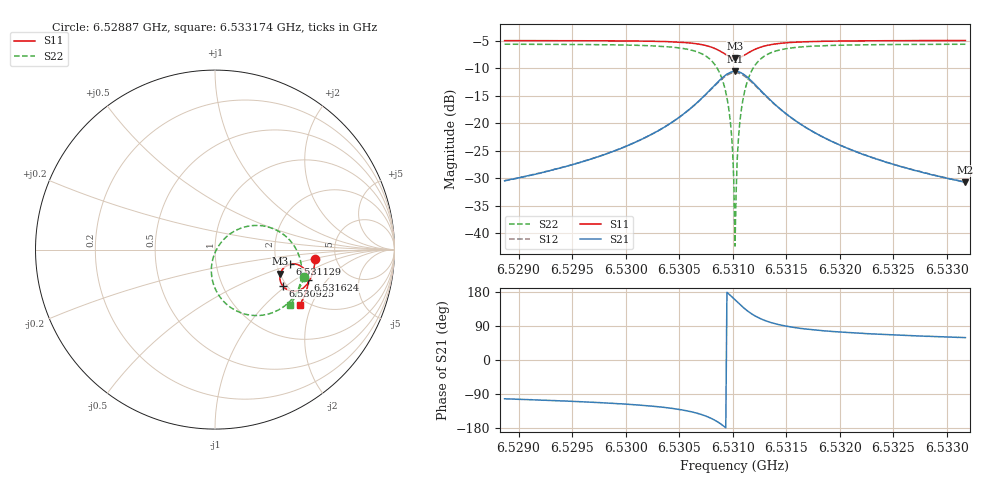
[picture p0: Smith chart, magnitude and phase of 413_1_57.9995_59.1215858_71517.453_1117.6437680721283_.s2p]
#  HZ  S  RI  R  50.00
! Rohde & Schwarz Vector Network Analyzer
! Rohde-Schwarz,ZNB20-2Port,1311601062101988,3.16
! Created: UTC 3/21/2024, 1:08:49 AM
! freq[Hz]  re:S11  im:S11  re:S21  im:S21  re:S12  im:S12  re:S22  im:S22
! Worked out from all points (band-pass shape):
!   401 points, 6.52887 GHz to 6.533174 GHz, reference 50 ohm
!   highest |S21| = -10.59 dB at 6.531022 GHz (marker M1); lowest = -30.7 dB at 6.533174 GHz (marker M2)
!   |S21| within 3 dB of the highest: 6.530808 GHz to 6.531238 GHz (430.1 kHz wide, 0.00659 % of centre)
!   lowest |S11| = -8.2 dB at 6.531022 GHz (marker M3), VSWR 2.27, Z = 101 - j31.8 ohm
!   |S11| at or under -10 dB: nowhere
!   |S22| runs from -42.3 to -5.7 dB; largest |S21 - S12| = 0.011
!   S11 on the Smith chart (normalised r, x): 6.52887 GHz: 3.47, -0.52; 6.530925 GHz: 1.91, -0.93; 6.531129 GHz: 2.36, -0.48; 6.531624 GHz: 2.71, -1.29; 6.533174 GHz: 1.82, -1.65
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6.52887e9  0.5587 -0.0518  -0.00642 -0.0292  -0.00701 -0.0292  0.4969 -0.1546
6.5295909e9  0.5492 -0.1112  -0.0155 -0.0416  -0.0163 -0.0415  0.4677 -0.2207
6.5303118e9  0.5216 -0.1812  -0.0476 -0.0718  -0.0496 -0.0705  0.3895 -0.3129
6.5307421e9  0.4532 -0.2312  -0.1512 -0.0974  -0.1535 -0.0915  0.1899 -0.364
6.5308497e9  0.4098 -0.2266  -0.2182 -0.0727  -0.2179 -0.0639  0.0749 -0.3132
6.530925e9  0.3762 -0.2007  -0.2681 -0.0169  -0.2632 -0.00755  -0.00181 -0.2113
6.5309681e9  0.3636 -0.1742  -0.284 0.0339  -0.2761 0.0416  -0.0204 -0.124
6.5309896e9  0.3613 -0.1585  -0.285 0.063  -0.2759 0.0692  -0.0174 -0.0761
6.5310004e9  0.3614 -0.1504  -0.2834 0.0777  -0.2738 0.0831  -0.0121 -0.0521
6.5310111e9  0.3623 -0.1423  -0.2802 0.0922  -0.2702 0.0968  -0.0046 -0.0285
6.5310219e9  0.3643 -0.1342  -0.2755 0.1067  -0.2655 0.1103  0.0053 -0.0055
6.5310326e9  0.367 -0.1265  -0.2694 0.1206  -0.2595 0.1232  0.0173 0.0162
6.5310434e9  0.3705 -0.1192  -0.262 0.1337  -0.2521 0.1354  0.0316 0.0367
6.5310542e9  0.3749 -0.1122  -0.2536 0.1459  -0.2437 0.1468  0.0475 0.0555
6.5310757e9  0.3853 -0.1003  -0.2335 0.1673  -0.2246 0.1665  0.0837 0.0875
6.5311295e9  0.4173 -0.0823  -0.1756 0.1988  -0.1691 0.196  0.1848 0.1305
6.531194e9  0.4533 -0.0816  -0.1117 0.203  -0.1081 0.2001  0.2928 0.127
6.5312909e9  0.4892 -0.0998  -0.049 0.1787  -0.0472 0.1769  0.3958 0.0726
6.5316244e9  0.5191 -0.167  0.0108 0.0989  0.0117 0.0985  0.4816 -0.0934
6.5317428e9  0.5188 -0.1839  0.0146 0.0832  0.0157 0.0829  0.483 -0.1284
6.5324636e9  0.499 -0.2559  0.0171 0.0398  0.0178 0.0396  0.4553 -0.2445
6.5331737e9  0.4714 -0.3081  0.0149 0.0249  0.0155 0.0247  0.4204 -0.3062
